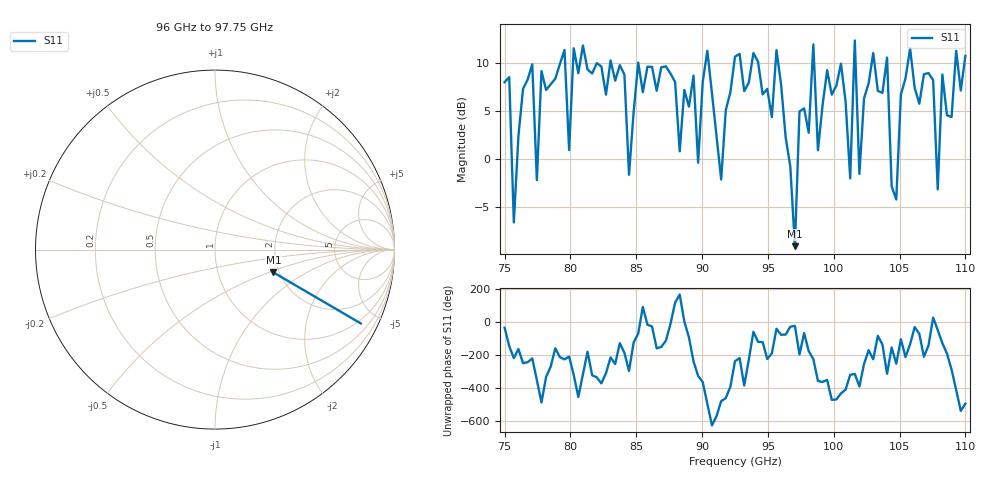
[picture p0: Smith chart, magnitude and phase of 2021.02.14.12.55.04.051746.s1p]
!Created with skrf (http://scikit-rf.org).
# GHz S RI R 50.0
!freq ReS11 ImS11
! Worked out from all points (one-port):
!   101 points, 75 GHz to 110 GHz, reference 50 ohm
!   lowest |S11| = -9.1 dB at 97.05 GHz (marker M1), VSWR 2.08, Z = 93.2 - j27.1 ohm
!   |S11| at or under -10 dB: nowhere
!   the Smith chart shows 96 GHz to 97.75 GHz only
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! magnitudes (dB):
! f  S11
! 75 GHz  8.0
! 75.7 GHz  -6.6
! 76.4 GHz  7.3
! 77.45 GHz  -2.2
! 79.55 GHz  11.3
! 79.9 GHz  0.9
! 80.25 GHz  11.5
! 83.75 GHz  9.7
! 84.45 GHz  -1.7
! 85.15 GHz  10.0
! 88.3 GHz  0.8
! 90.4 GHz  11.2
! 91.45 GHz  -2.2
! 92.5 GHz  10.6
! 95.65 GHz  11.3
! 97.05 GHz  -9.1
! 98.45 GHz  11.9
! 98.8 GHz  0.9
! 100.5 GHz  9.9
! 101.2 GHz  -2.1
! 101.6 GHz  12.3
! 102 GHz  -1.6
! 104 GHz  10.5
! 104.8 GHz  -4.3
! 105.8 GHz  11.5
! 107.9 GHz  -3.2
! 108.2 GHz  8.8
! 110 GHz  10.7
